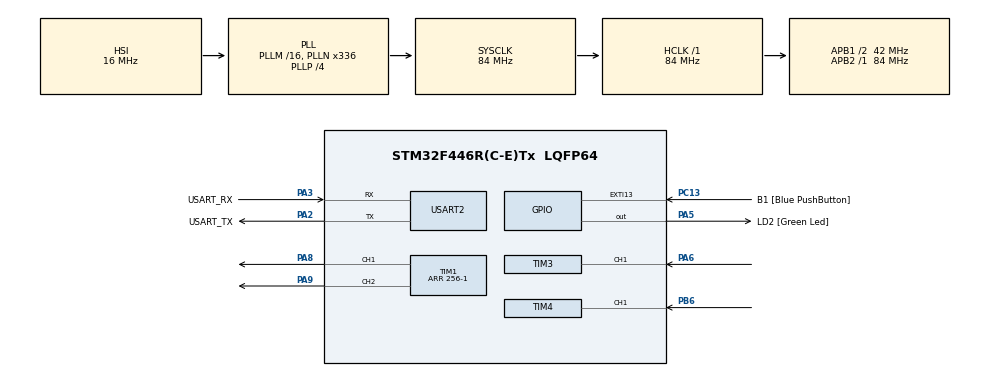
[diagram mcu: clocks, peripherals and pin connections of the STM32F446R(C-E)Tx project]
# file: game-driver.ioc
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Mcu.Family=STM32F4
Mcu.Name=STM32F446R(C-E)Tx
Mcu.Package=LQFP64
NVIC.PriorityGroup=NVIC_PRIORITYGROUP_0
NVIC.USART2_IRQn=true\:0\:0\:false\:false\:true\:true\:true\:true
PA13.GPIO_Label=TMS
PA13.Mode=Serial_Wire
PA13.Signal=SYS_JTMS-SWDIO
PA14.GPIO_Label=TCK
PA14.Mode=Serial_Wire
PA14.Signal=SYS_JTCK-SWCLK
PA2.GPIO_Label=USART_TX
PA2.Mode=Asynchronous
PA2.Signal=USART2_TX
PA3.GPIO_Label=USART_RX
PA3.Mode=Asynchronous
PA3.Signal=USART2_RX
PA5.GPIO_Label=LD2 [Green Led]
PA5.Signal=GPIO_Output
PA6.Signal=S_TIM3_CH1
PA8.Signal=S_TIM1_CH1
PA9.Signal=S_TIM1_CH2
PB3.GPIO_Label=SWO
PB3.Signal=SYS_JTDO-SWO
PB6.Signal=S_TIM4_CH1
PC13.GPIO_Label=B1 [Blue PushButton]
PC13.GPIO_ModeDefaultEXTI=GPIO_MODE_IT_FALLING
PC13.Signal=GPXTI13
PC14-OSC32_IN.Mode=LSE-External-Oscillator
PC14-OSC32_IN.Signal=RCC_OSC32_IN
PC15-OSC32_OUT.Mode=LSE-External-Oscillator
PC15-OSC32_OUT.Signal=RCC_OSC32_OUT
PH0-OSC_IN.Mode=HSE-External-Oscillator
PH0-OSC_IN.Signal=RCC_OSC_IN
PH1-OSC_OUT.Mode=HSE-External-Oscillator
PH1-OSC_OUT.Signal=RCC_OSC_OUT
ProjectManager.HeapSize=0x200
ProjectManager.StackSize=0x400
ProjectManager.TargetToolchain=STM32CubeIDE
RCC.48MHZClocksFreq_Value=84000000
RCC.AHBFreq_Value=84000000
RCC.APB1CLKDivider=RCC_HCLK_DIV2
RCC.APB1Freq_Value=42000000
RCC.APB1TimFreq_Value=84000000
RCC.APB2Freq_Value=84000000
RCC.APB2TimFreq_Value=84000000
RCC.CortexFreq_Value=84000000
RCC.FLatency-AdvancedSettings=FLASH_LATENCY_2
RCC.HCLKFreq_Value=84000000
RCC.HSE_VALUE=8000000
RCC.HSI_VALUE=16000000
RCC.PLLN=336
RCC.PLLP=RCC_PLLP_DIV4
RCC.SYSCLKFreq_VALUE=84000000
RCC.SYSCLKSource=RCC_SYSCLKSOURCE_PLLCLK
RCC.USBFreq_Value=168000000
RCC.VCOOutputFreq_Value=336000000
SH.S_TIM1_CH1.0=TIM1_CH1,PWM Generation1 CH1
SH.S_TIM1_CH2.0=TIM1_CH2,PWM Generation2 CH2
SH.S_TIM3_CH1.0=TIM3_CH1,TriggerSource_TI1FP1
SH.S_TIM3_CH1.1=TIM3_CH1,Input_Capture1_from_TI1
SH.S_TIM4_CH1.0=TIM4_CH1,Input_Capture1_from_TI1
SH.S_TIM4_CH1.1=TIM4_CH1,TriggerSource_TI1FP1
TIM1.AutoReloadPreload=TIM_AUTORELOAD_PRELOAD_ENABLE
TIM1.Channel-PWM\ Generation1\ CH1=TIM_CHANNEL_1
TIM1.Channel-PWM\ Generation2\ CH2=TIM_CHANNEL_2
TIM1.Period=256-1
TIM3.AutoReloadPreload=TIM_AUTORELOAD_PRELOAD_ENABLE
TIM3.Channel-Input_Capture1_from_TI1=TIM_CHANNEL_1
TIM3.Channel-Input_Capture2_from_TI1_63=TIM_CHANNEL_2
TIM3.ICPolarity_CH2=TIM_INPUTCHANNELPOLARITY_FALLING
TIM3.Prescaler=0
TIM4.AutoReloadPreload=TIM_AUTORELOAD_PRELOAD_ENABLE
TIM4.Channel-Input_Capture1_from_TI1=TIM_CHANNEL_1
TIM4.Channel-Input_Capture2_from_TI1_63=TIM_CHANNEL_2
TIM4.ICPolarity_CH2=TIM_INPUTCHANNELPOLARITY_FALLING
TIM4.Prescaler=0
USART2.VirtualMode=VM_ASYNC
VP_TIM3_VS_ClockSourceINT.Mode=Internal
VP_TIM3_VS_ControllerModeReset.Mode=Reset Mode
VP_TIM3_VS_indirect_ch1.Mode=Input_Capture2_from_TI1_63
VP_TIM4_VS_ClockSourceINT.Mode=Internal
VP_TIM4_VS_ControllerModeReset.Mode=Reset Mode
VP_TIM4_VS_indirect_ch1.Mode=Input_Capture2_from_TI1_63
board=NUCLEO-F446RE

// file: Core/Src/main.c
/* USER CODE BEGIN Header */
/**
  ******************************************************************************
  * @file           : main.c
  * @brief          : Main program body
  ******************************************************************************
  * @attention
  *
  * Copyright (c) 2024 STMicroelectronics.
  * All rights reserved.
  *
  * This software is licensed under terms that can be found in the LICENSE file
  * in the root directory of this software component.
  * If no LICENSE file comes with this software, it is provided AS-IS.
  *
  ******************************************************************************
  */
/* USER CODE END Header */
#include "main.h"

TIM_HandleTypeDef htim1;
TIM_HandleTypeDef htim3;
TIM_HandleTypeDef htim4;

UART_HandleTypeDef huart2;

void SystemClock_Config(void);
static void MX_GPIO_Init(void);
static void MX_USART2_UART_Init(void);
static void MX_TIM1_Init(void);
static void MX_TIM3_Init(void);
static void MX_TIM4_Init(void);

int main(void)
{

  /* MCU Configuration--------------------------------------------------------*/

  /* Reset of all peripherals, Initializes the Flash interface and the Systick. */
  HAL_Init();

  /* Configure the system clock */
  SystemClock_Config();

  /* Initialize all configured peripherals */
  MX_GPIO_Init();
  MX_USART2_UART_Init();
  MX_TIM1_Init();
  MX_TIM3_Init();
  MX_TIM4_Init();
  /* USER CODE BEGIN 2 */

  HAL_TIM_PWM_Start(&htim1, TIM_CHANNEL_1);
  HAL_TIM_PWM_Start(&htim1, TIM_CHANNEL_2);
  HAL_TIM_Base_Start(&htim1);

  HAL_TIM_Base_Start(&htim3);
  HAL_TIM_Base_Start(&htim4);

  HAL_TIM_IC_Start(&htim3, TIM_CHANNEL_1);
  HAL_TIM_IC_Start(&htim3, TIM_CHANNEL_2);
  HAL_TIM_IC_Start(&htim4, TIM_CHANNEL_1);
  HAL_TIM_IC_Start(&htim4, TIM_CHANNEL_2);

  uint8_t rx_buff[3] = {0};
  uint8_t tx_buff[3] = {0};
  uint8_t buf_idx = 0;
  uint8_t left_sensor = 0;
  uint8_t right_sensor = 0;
  uint8_t new_data = 0;

  /* USER CODE END 2 */

  /* Infinite loop */
  /* USER CODE BEGIN WHILE */
  while (1)
  {

	  if(HAL_UART_Receive(&huart2, &rx_buff[buf_idx], 1, 100)==HAL_OK) { //if transfer is successful
		  if (rx_buff[buf_idx] == 0) {
			  if (buf_idx == 2) {
				  left_sensor = rx_buff[0];
				  right_sensor = rx_buff[1];
				  new_data = 1;
			  }
			  buf_idx = 0;
		  } else {
			  buf_idx += 1;
		  }
	  }

	  if (new_data) {
		  // Do something with left_sensor/right_sensor here

		  tx_buff[0] = left_sensor / 2 + 128;
		  tx_buff[1] = right_sensor / 2 + 128;
		  HAL_UART_Transmit(&huart2, tx_buff, 3, 10);
		  new_data = 0;
	  }

    /* USER CODE END WHILE */

  }
}

void SystemClock_Config(void)
{
  RCC_OscInitTypeDef RCC_OscInitStruct = {0};
  RCC_ClkInitTypeDef RCC_ClkInitStruct = {0};

  /** Configure the main internal regulator output voltage
  */
  __HAL_RCC_PWR_CLK_ENABLE();
  __HAL_PWR_VOLTAGESCALING_CONFIG(PWR_REGULATOR_VOLTAGE_SCALE3);

  /** Initializes the RCC Oscillators according to the specified parameters
  * in the RCC_OscInitTypeDef structure.
  */
  RCC_OscInitStruct.OscillatorType = RCC_OSCILLATORTYPE_HSI;
  RCC_OscInitStruct.HSIState = RCC_HSI_ON;
  RCC_OscInitStruct.HSICalibrationValue = RCC_HSICALIBRATION_DEFAULT;
  RCC_OscInitStruct.PLL.PLLState = RCC_PLL_ON;
  RCC_OscInitStruct.PLL.PLLSource = RCC_PLLSOURCE_HSI;
  RCC_OscInitStruct.PLL.PLLM = 16;
  RCC_OscInitStruct.PLL.PLLN = 336;
  RCC_OscInitStruct.PLL.PLLP = RCC_PLLP_DIV4;
  RCC_OscInitStruct.PLL.PLLQ = 2;
  RCC_OscInitStruct.PLL.PLLR = 2;
  if (HAL_RCC_OscConfig(&RCC_OscInitStruct) != HAL_OK)
  {
    Error_Handler();
  }

  /** Initializes the CPU, AHB and APB buses clocks
  */
  RCC_ClkInitStruct.ClockType = RCC_CLOCKTYPE_HCLK|RCC_CLOCKTYPE_SYSCLK
                              |RCC_CLOCKTYPE_PCLK1|RCC_CLOCKTYPE_PCLK2;
  RCC_ClkInitStruct.SYSCLKSource = RCC_SYSCLKSOURCE_PLLCLK;
  RCC_ClkInitStruct.AHBCLKDivider = RCC_SYSCLK_DIV1;
  RCC_ClkInitStruct.APB1CLKDivider = RCC_HCLK_DIV2;
  RCC_ClkInitStruct.APB2CLKDivider = RCC_HCLK_DIV1;

  if (HAL_RCC_ClockConfig(&RCC_ClkInitStruct, FLASH_LATENCY_2) != HAL_OK)
  {
    Error_Handler();
  }
}

static void MX_TIM1_Init(void)
{

  TIM_MasterConfigTypeDef sMasterConfig = {0};
  TIM_OC_InitTypeDef sConfigOC = {0};
  TIM_BreakDeadTimeConfigTypeDef sBreakDeadTimeConfig = {0};

  htim1.Instance = TIM1;
  htim1.Init.Prescaler = 0;
  htim1.Init.CounterMode = TIM_COUNTERMODE_UP;
  htim1.Init.Period = 256-1;
  htim1.Init.ClockDivision = TIM_CLOCKDIVISION_DIV1;
  htim1.Init.RepetitionCounter = 0;
  htim1.Init.AutoReloadPreload = TIM_AUTORELOAD_PRELOAD_ENABLE;
  if (HAL_TIM_PWM_Init(&htim1) != HAL_OK)
  {
    Error_Handler();
  }
  sMasterConfig.MasterOutputTrigger = TIM_TRGO_RESET;
  sMasterConfig.MasterSlaveMode = TIM_MASTERSLAVEMODE_DISABLE;
  if (HAL_TIMEx_MasterConfigSynchronization(&htim1, &sMasterConfig) != HAL_OK)
  {
    Error_Handler();
  }
  sConfigOC.OCMode = TIM_OCMODE_PWM1;
  sConfigOC.Pulse = 0;
  sConfigOC.OCPolarity = TIM_OCPOLARITY_HIGH;
  sConfigOC.OCNPolarity = TIM_OCNPOLARITY_HIGH;
  sConfigOC.OCFastMode = TIM_OCFAST_DISABLE;
  sConfigOC.OCIdleState = TIM_OCIDLESTATE_RESET;
  sConfigOC.OCNIdleState = TIM_OCNIDLESTATE_RESET;
  if (HAL_TIM_PWM_ConfigChannel(&htim1, &sConfigOC, TIM_CHANNEL_1) != HAL_OK)
  {
    Error_Handler();
  }
  if (HAL_TIM_PWM_ConfigChannel(&htim1, &sConfigOC, TIM_CHANNEL_2) != HAL_OK)
  {
    Error_Handler();
  }
  sBreakDeadTimeConfig.OffStateRunMode = TIM_OSSR_DISABLE;
  sBreakDeadTimeConfig.OffStateIDLEMode = TIM_OSSI_DISABLE;
  sBreakDeadTimeConfig.LockLevel = TIM_LOCKLEVEL_OFF;
  sBreakDeadTimeConfig.DeadTime = 0;
  sBreakDeadTimeConfig.BreakState = TIM_BREAK_DISABLE;
  sBreakDeadTimeConfig.BreakPolarity = TIM_BREAKPOLARITY_HIGH;
  sBreakDeadTimeConfig.AutomaticOutput = TIM_AUTOMATICOUTPUT_DISABLE;
  if (HAL_TIMEx_ConfigBreakDeadTime(&htim1, &sBreakDeadTimeConfig) != HAL_OK)
  {
    Error_Handler();
  }
  HAL_TIM_MspPostInit(&htim1);

}

static void MX_TIM3_Init(void)
{

  TIM_ClockConfigTypeDef sClockSourceConfig = {0};
  TIM_SlaveConfigTypeDef sSlaveConfig = {0};
  TIM_MasterConfigTypeDef sMasterConfig = {0};
  TIM_IC_InitTypeDef sConfigIC = {0};

  htim3.Instance = TIM3;
  htim3.Init.Prescaler = 0;
  htim3.Init.CounterMode = TIM_COUNTERMODE_UP;
  htim3.Init.Period = 65535;
  htim3.Init.ClockDivision = TIM_CLOCKDIVISION_DIV1;
  htim3.Init.AutoReloadPreload = TIM_AUTORELOAD_PRELOAD_ENABLE;
  if (HAL_TIM_Base_Init(&htim3) != HAL_OK)
  {
    Error_Handler();
  }
  sClockSourceConfig.ClockSource = TIM_CLOCKSOURCE_INTERNAL;
  if (HAL_TIM_ConfigClockSource(&htim3, &sClockSourceConfig) != HAL_OK)
  {
    Error_Handler();
  }
  if (HAL_TIM_IC_Init(&htim3) != HAL_OK)
  {
    Error_Handler();
  }
  sSlaveConfig.SlaveMode = TIM_SLAVEMODE_RESET;
  sSlaveConfig.InputTrigger = TIM_TS_TI1FP1;
  sSlaveConfig.TriggerPolarity = TIM_INPUTCHANNELPOLARITY_RISING;
  sSlaveConfig.TriggerFilter = 0;
  if (HAL_TIM_SlaveConfigSynchro(&htim3, &sSlaveConfig) != HAL_OK)
  {
    Error_Handler();
  }
  sMasterConfig.MasterOutputTrigger = TIM_TRGO_RESET;
  sMasterConfig.MasterSlaveMode = TIM_MASTERSLAVEMODE_DISABLE;
  if (HAL_TIMEx_MasterConfigSynchronization(&htim3, &sMasterConfig) != HAL_OK)
  {
    Error_Handler();
  }
  sConfigIC.ICPolarity = TIM_INPUTCHANNELPOLARITY_RISING;
  sConfigIC.ICSelection = TIM_ICSELECTION_DIRECTTI;
  sConfigIC.ICPrescaler = TIM_ICPSC_DIV1;
  sConfigIC.ICFilter = 0;
  if (HAL_TIM_IC_ConfigChannel(&htim3, &sConfigIC, TIM_CHANNEL_1) != HAL_OK)
  {
    Error_Handler();
  }
  sConfigIC.ICPolarity = TIM_INPUTCHANNELPOLARITY_FALLING;
  sConfigIC.ICSelection = TIM_ICSELECTION_INDIRECTTI;
  if (HAL_TIM_IC_ConfigChannel(&htim3, &sConfigIC, TIM_CHANNEL_2) != HAL_OK)
  {
    Error_Handler();
  }

}

static void MX_TIM4_Init(void)
{

  TIM_ClockConfigTypeDef sClockSourceConfig = {0};
  TIM_SlaveConfigTypeDef sSlaveConfig = {0};
  TIM_MasterConfigTypeDef sMasterConfig = {0};
  TIM_IC_InitTypeDef sConfigIC = {0};

  htim4.Instance = TIM4;
  htim4.Init.Prescaler = 0;
  htim4.Init.CounterMode = TIM_COUNTERMODE_UP;
  htim4.Init.Period = 65535;
  htim4.Init.ClockDivision = TIM_CLOCKDIVISION_DIV1;
  htim4.Init.AutoReloadPreload = TIM_AUTORELOAD_PRELOAD_ENABLE;
  if (HAL_TIM_Base_Init(&htim4) != HAL_OK)
  {
    Error_Handler();
  }
  sClockSourceConfig.ClockSource = TIM_CLOCKSOURCE_INTERNAL;
  if (HAL_TIM_ConfigClockSource(&htim4, &sClockSourceConfig) != HAL_OK)
  {
    Error_Handler();
  }
  if (HAL_TIM_IC_Init(&htim4) != HAL_OK)
  {
    Error_Handler();
  }
  sSlaveConfig.SlaveMode = TIM_SLAVEMODE_RESET;
  sSlaveConfig.InputTrigger = TIM_TS_TI1FP1;
  sSlaveConfig.TriggerPolarity = TIM_INPUTCHANNELPOLARITY_RISING;
  sSlaveConfig.TriggerFilter = 0;
  if (HAL_TIM_SlaveConfigSynchro(&htim4, &sSlaveConfig) != HAL_OK)
  {
    Error_Handler();
  }
  sMasterConfig.MasterOutputTrigger = TIM_TRGO_RESET;
  sMasterConfig.MasterSlaveMode = TIM_MASTERSLAVEMODE_DISABLE;
  if (HAL_TIMEx_MasterConfigSynchronization(&htim4, &sMasterConfig) != HAL_OK)
  {
    Error_Handler();
  }
  sConfigIC.ICPolarity = TIM_INPUTCHANNELPOLARITY_RISING;
  sConfigIC.ICSelection = TIM_ICSELECTION_DIRECTTI;
  sConfigIC.ICPrescaler = TIM_ICPSC_DIV1;
  sConfigIC.ICFilter = 0;
  if (HAL_TIM_IC_ConfigChannel(&htim4, &sConfigIC, TIM_CHANNEL_1) != HAL_OK)
  {
    Error_Handler();
  }
  sConfigIC.ICPolarity = TIM_INPUTCHANNELPOLARITY_FALLING;
  sConfigIC.ICSelection = TIM_ICSELECTION_INDIRECTTI;
  if (HAL_TIM_IC_ConfigChannel(&htim4, &sConfigIC, TIM_CHANNEL_2) != HAL_OK)
  {
    Error_Handler();
  }

}

static void MX_USART2_UART_Init(void)
{

  huart2.Instance = USART2;
  huart2.Init.BaudRate = 115200;
  huart2.Init.WordLength = UART_WORDLENGTH_8B;
  huart2.Init.StopBits = UART_STOPBITS_1;
  huart2.Init.Parity = UART_PARITY_NONE;
  huart2.Init.Mode = UART_MODE_TX_RX;
  huart2.Init.HwFlowCtl = UART_HWCONTROL_NONE;
  huart2.Init.OverSampling = UART_OVERSAMPLING_16;
  if (HAL_UART_Init(&huart2) != HAL_OK)
  {
    Error_Handler();
  }

}

static void MX_GPIO_Init(void)
{
  GPIO_InitTypeDef GPIO_InitStruct = {0};

  /* GPIO Ports Clock Enable */
  __HAL_RCC_GPIOC_CLK_ENABLE();
  __HAL_RCC_GPIOH_CLK_ENABLE();
  __HAL_RCC_GPIOA_CLK_ENABLE();
  __HAL_RCC_GPIOB_CLK_ENABLE();

  /*Configure GPIO pin Output Level */
  HAL_GPIO_WritePin(LD2_GPIO_Port, LD2_Pin, GPIO_PIN_RESET);

  /*Configure GPIO pin : B1_Pin */
  GPIO_InitStruct.Pin = B1_Pin;
  GPIO_InitStruct.Mode = GPIO_MODE_IT_FALLING;
  GPIO_InitStruct.Pull = GPIO_NOPULL;
  HAL_GPIO_Init(B1_GPIO_Port, &GPIO_InitStruct);

  /*Configure GPIO pin : LD2_Pin */
  GPIO_InitStruct.Pin = LD2_Pin;
  GPIO_InitStruct.Mode = GPIO_MODE_OUTPUT_PP;
  GPIO_InitStruct.Pull = GPIO_NOPULL;
  GPIO_InitStruct.Speed = GPIO_SPEED_FREQ_LOW;
  HAL_GPIO_Init(LD2_GPIO_Port, &GPIO_InitStruct);

}

void Error_Handler(void)
{
  __disable_irq();
  while (1)
  {
  }
}
